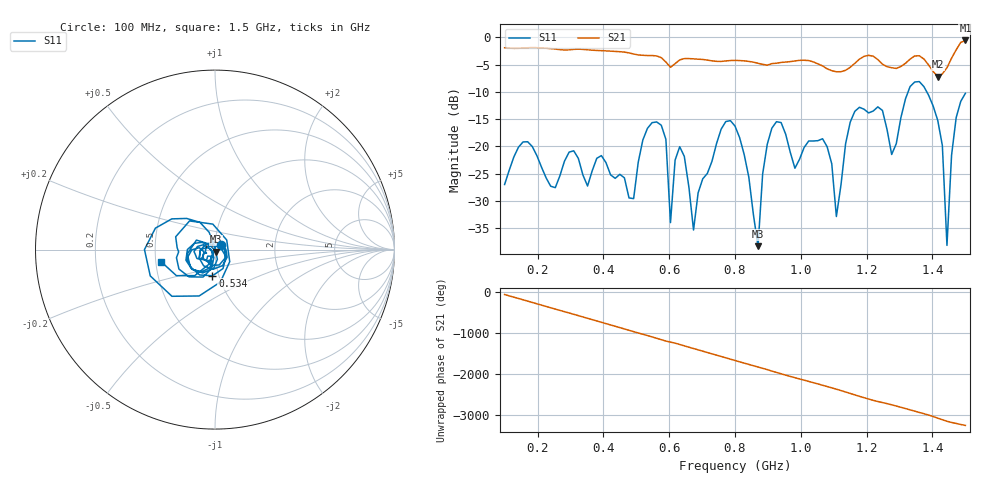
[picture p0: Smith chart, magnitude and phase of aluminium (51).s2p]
! NanoVNA-App
! Date: 2025-09-26 09:58:27
! Start: 100MHz Stop: 1,5GHz Points: 101
! S-Parameter data: F S11 S21 S12 S22
# Hz S RI R 50
!  Frequency  S11_Real  S11_Imag  S21_Real  S21_Imag  S12_Real  S12_Imag  S22_Real  S22_Imag
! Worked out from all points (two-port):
!   101 points, 100 MHz to 1.5 GHz, reference 50 ohm
!   highest |S21| = -0.58 dB at 1.5 GHz (marker M1); lowest = -7.2 dB at 1.416 GHz (marker M2)
!   |S21| within 3 dB of the highest: start of sweep to 569.2 MHz; 1.19 GHz to 1.223 GHz (32.82 MHz wide, 2.72 % of centre) (the widest 2 of 4)
!   lowest |S11| = -38.3 dB at 870 MHz (marker M3), VSWR 1.02, Z = 50.4 - j1.15 ohm
!   |S11| at or under -10 dB: start of sweep to 1.326 GHz; 1.383 GHz to end of sweep
!   S12 and S22 are empty: the file has one direction only
!   S11 on the Smith chart (normalised r, x): 100 MHz: 1.07, +0.06; 534 MHz: 0.93, -0.28; 1.5 GHz: 0.54, -0.08
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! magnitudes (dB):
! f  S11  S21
! 100 MHz  -27.0  -1.9
! 156 MHz  -19.2  -2.0
! 338 MHz  -25.2  -2.2
! 492 MHz  -29.6  -3.1
! 534 MHz  -16.7  -3.3
! 576 MHz  -16.1  -3.7
! 604 MHz  -34.0  -5.5
! 632 MHz  -20.0  -4.1
! 674 MHz  -35.3  -3.9
! 800 MHz  -16.3  -4.2
! 870 MHz  -38.3  -4.8
! 912 MHz  -16.6  -4.8
! 1.038 GHz  -19.0  -4.5
! 1.08 GHz  -20.1  -5.8
! 1.108 GHz  -32.8  -6.3
! 1.164 GHz  -13.6  -4.8
! 1.276 GHz  -21.5  -5.6
! 1.346 GHz  -8.2  -3.4
! 1.416 GHz  -15.2  -7.2
! 1.444 GHz  -38.1  -5.6
! 1.458 GHz  -21.6  -3.8
! 1.5 GHz  -10.3  -0.6
